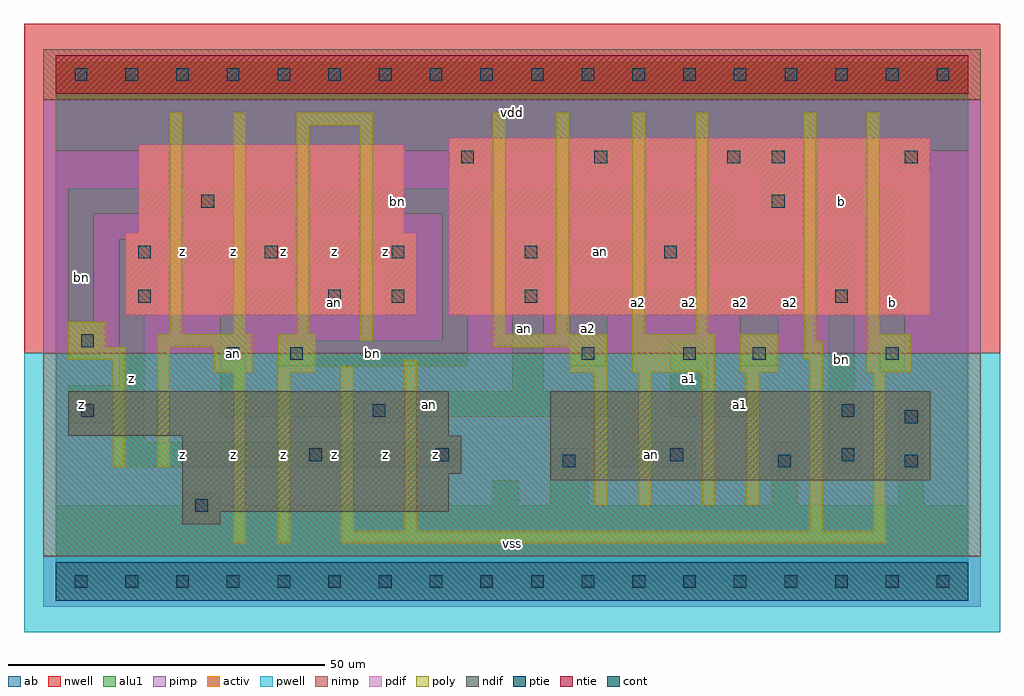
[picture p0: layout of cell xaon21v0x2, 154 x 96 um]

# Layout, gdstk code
import gdstk
lib = gdstk.Library(unit=1e-6, precision=1e-09)
def R(c, l, rs):  # rectangles x0, y0, x1, y1
    for r in rs: c.add(gdstk.rectangle(r[:2], r[2:], *l))
def A(c, l, x, y, w, h, nx, ny, dx, dy):  # array of equal rectangles
    R(c, l, [(x+i*dx, y+j*dy, x+i*dx+w, y+j*dy+h) for i in range(nx) for j in range(ny)])
ndif = (3, 0)
pdif = (4, 0)
ntie = (5, 0)
ptie = (6, 0)
cont = (25, 0)
pwell = (41, 0)
nwell = (42, 0)
activ = (43, 0)
pimp = (44, 0)
nimp = (45, 0)
poly = (46, 0)
alu1 = (49, 0)
ab = (63, 0)

xaon21v0x2 = lib.new_cell('xaon21v0x2')
R(xaon21v0x2, ndif, [(20,9,26,11), (20,11,62,17), (78,16,138,30), (20,17,64,23), (2,23,62,30)])
R(xaon21v0x2, pdif, [(11,42,57,55), (62,42,138,70), (13,55,55,69)])
R(xaon21v0x2, ntie, [(0,77,144,83)])
R(xaon21v0x2, ptie, [(0,-3,144,3)])
A(xaon21v0x2, cont, 3, -1, 2, 2, 18, 2, 8, 80)
A(xaon21v0x2, cont, 13, 51, 2, 2, 3, 1, 20, 0)
A(xaon21v0x2, cont, 64, 66, 2, 2, 3, 1, 21, 0)
R(xaon21v0x2, cont, [(22,11,24,13), (80,18,82,20), (114,18,116,20), (134,18,136,20), (40,19,42,21), (60,19,62,21), (97,19,99,21), (124,19,126,21), (134,25,136,27), (4,26,6,28), (50,26,52,28), (124,26,126,28), (27,35,29,37), (37,35,39,37), (83,35,85,37), (99,35,101,37), (110,35,112,37), (131,35,133,37), (4,37,6,39), (13,44,15,46), (43,44,45,46), (53,44,55,46), (74,44,76,46), (123,44,125,46), (74,51,76,53), (96,51,98,53), (23,59,25,61), (113,59,115,61), (113,66,115,68), (134,66,136,68)])
R(xaon21v0x2, pwell, [(-5,-8,149,36)])
R(xaon21v0x2, nwell, [(-5,36,149,88)])
R(xaon21v0x2, activ, [(0,-3,144,3), (20,9,26,11), (20,11,62,17), (78,16,138,30), (20,17,64,23), (2,23,62,30), (11,42,57,55), (62,42,138,70), (13,55,55,69), (0,77,144,83)])
R(xaon21v0x2, pimp, [(-2,-4,146,4), (-2,36,146,76)])
R(xaon21v0x2, nimp, [(-2,4,146,36), (-2,76,146,84)])
R(xaon21v0x2, poly, [(28,6,30,33), (35,6,37,33), (45,6,131,8), (45,8,47,34), (55,8,57,35), (119,8,121,35), (129,8,131,33), (85,12,87,33), (92,12,94,33), (102,12,104,33), (109,12,111,33), (9,18,11,35), (16,18,18,37), (25,33,31,37), (35,33,41,39), (81,33,87,37), (91,33,104,39), (108,33,114,39), (128,33,135,39), (2,35,11,37), (118,35,121,38), (2,37,8,41), (16,37,31,39), (69,37,87,39), (48,38,50,72), (118,38,120,74), (18,39,20,74), (28,39,30,74), (38,39,40,72), (69,39,71,74), (79,39,81,74), (91,39,93,74), (101,39,103,74), (128,39,130,74), (38,72,50,74)])
R(xaon21v0x2, alu1, [(0,-2,144,12), (20,12,26,14), (69,12,73,16), (78,12,84,21), (113,12,117,22), (133,12,137,29), (122,17,127,30), (9,18,64,22), (88,18,101,22), (9,22,14,25), (88,22,92,26), (2,25,14,31), (48,25,54,26), (26,26,92,30), (97,26,111,30), (26,30,30,42), (72,30,77,50), (97,30,103,38), (122,30,126,50), (10,31,14,42), (130,33,134,58), (35,34,65,38), (81,34,87,42), (108,34,114,42), (2,35,7,41), (61,38,65,58), (2,41,6,58), (10,42,16,50), (26,42,47,46), (52,42,57,50), (81,42,119,46), (41,46,47,47), (10,50,57,54), (72,50,100,54), (103,50,126,54), (103,54,107,58), (2,58,107,62), (111,58,117,65), (121,58,134,62), (62,65,68,68), (83,65,89,68), (103,65,117,68), (132,65,138,68), (0,68,144,82)])
R(xaon21v0x2, ab, [(0,0,144,80)])
xaon21v0x2.add(gdstk.Label('bn', (4,48), layer=49, texttype=0))
xaon21v0x2.add(gdstk.Label('an', (28,36), layer=49, texttype=0))
xaon21v0x2.add(gdstk.Label('an', (44,44), layer=49, texttype=0))
xaon21v0x2.add(gdstk.Label('bn', (50,36), layer=49, texttype=0))
xaon21v0x2.add(gdstk.Label('an', (74,40), layer=49, texttype=0))
xaon21v0x2.add(gdstk.Label('an', (94,20), layer=49, texttype=0))
xaon21v0x2.add(gdstk.Label('an', (59,28), layer=49, texttype=0))
xaon21v0x2.add(gdstk.Label('an', (86,52), layer=49, texttype=0))
xaon21v0x2.add(gdstk.Label('bn', (54,60), layer=49, texttype=0))
xaon21v0x2.add(gdstk.Label('bn', (124,35), layer=49, texttype=0))
xaon21v0x2.add(gdstk.Label('z', (20,20), layer=49, texttype=0))
xaon21v0x2.add(gdstk.Label('z', (28,20), layer=49, texttype=0))
xaon21v0x2.add(gdstk.Label('z', (12,32), layer=49, texttype=0))
xaon21v0x2.add(gdstk.Label('z', (4,28), layer=49, texttype=0))
xaon21v0x2.add(gdstk.Label('z', (28,52), layer=49, texttype=0))
xaon21v0x2.add(gdstk.Label('z', (20,52), layer=49, texttype=0))
xaon21v0x2.add(gdstk.Label('z', (44,20), layer=49, texttype=0))
xaon21v0x2.add(gdstk.Label('z', (52,20), layer=49, texttype=0))
xaon21v0x2.add(gdstk.Label('z', (60,20), layer=49, texttype=0))
xaon21v0x2.add(gdstk.Label('z', (36,20), layer=49, texttype=0))
xaon21v0x2.add(gdstk.Label('z', (36,52), layer=49, texttype=0))
xaon21v0x2.add(gdstk.Label('z', (44,52), layer=49, texttype=0))
xaon21v0x2.add(gdstk.Label('z', (52,52), layer=49, texttype=0))
xaon21v0x2.add(gdstk.Label('vss', (72,6), layer=49, texttype=0))
xaon21v0x2.add(gdstk.Label('a1', (100,32), layer=49, texttype=0))
xaon21v0x2.add(gdstk.Label('a2', (84,40), layer=49, texttype=0))
xaon21v0x2.add(gdstk.Label('a2', (100,44), layer=49, texttype=0))
xaon21v0x2.add(gdstk.Label('a2', (92,44), layer=49, texttype=0))
xaon21v0x2.add(gdstk.Label('vdd', (72,74), layer=49, texttype=0))
xaon21v0x2.add(gdstk.Label('a1', (108,28), layer=49, texttype=0))
xaon21v0x2.add(gdstk.Label('a2', (116,44), layer=49, texttype=0))
xaon21v0x2.add(gdstk.Label('b', (132,44), layer=49, texttype=0))
xaon21v0x2.add(gdstk.Label('a2', (108,44), layer=49, texttype=0))
xaon21v0x2.add(gdstk.Label('b', (124,60), layer=49, texttype=0))

lib.write_gds('xaon21v0x2.gds')
